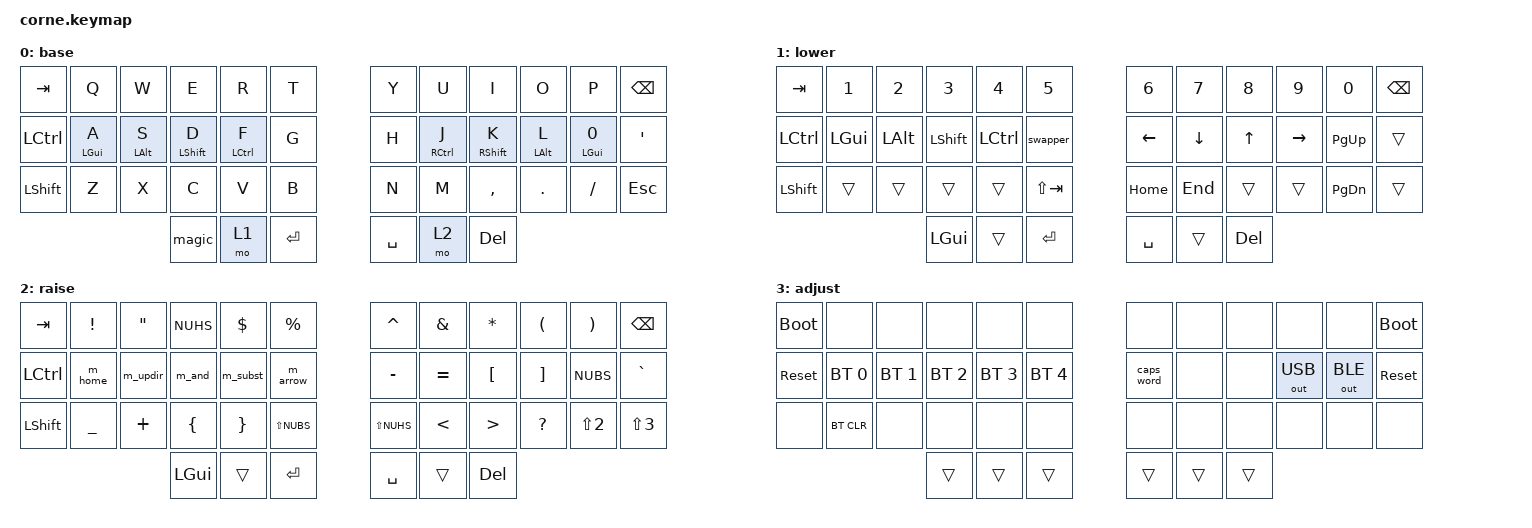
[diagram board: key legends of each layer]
/*
 * Corne UK ISO — keymap tuned for coding / Linux CLI
 * (symbols assume the OS keyboard layout is set to UK)
 * Layers: 0 Base, 1 Lower (numbers + nav), 2 Raise (symbols + shell macros), 3 Adjust (tri-layer)
 */

#include <behaviors.dtsi>
#include <behaviors/num_word.dtsi>   // from urob/zmk-auto-layer
#include <dt-bindings/zmk/keys.h>
#include <dt-bindings/zmk/bt.h>
#include <dt-bindings/zmk/outputs.h>
#include <dt-bindings/gpio/gpio.h>

#include "zmk-helpers/helper.h"
#include "zmk-helpers/key-labels/42.h"   // Corne 6-col key position labels

// ─── Position groups for HRMs (not provided by zmk-helpers v0.3) ─
#define KEYS_L LT0 LT1 LT2 LT3 LT4 LT5  LM0 LM1 LM2 LM3 LM4 LM5  LB0 LB1 LB2 LB3 LB4 LB5
#define KEYS_R RT0 RT1 RT2 RT3 RT4 RT5  RM0 RM1 RM2 RM3 RM4 RM5  RB0 RB1 RB2 RB3 RB4 RB5
#define THUMBS LH2 LH1 LH0 RH0 RH1 RH2

// ─── nice!view chip-select for Mechboards kits ───────────────────
// Mechboards Corne PCBs wire the display CS line to pro_micro pin 8
// (not the nice!view default). Without this the screens show random
// dots, garbage, or work intermittently.
// https://guides-mechboards.gitbook.io/guides/firmware/mip-nice-view-display-config
&nice_view_spi {
    cs-gpios = <&pro_micro 8 GPIO_ACTIVE_HIGH>;
};

// ─── Home row mods (GACS — Gui/Alt/Ctrl/Shift, index = Ctrl) ─────
ZMK_HOLD_TAP(hml,
    flavor = "balanced";
    tapping-term-ms = <280>;
    quick-tap-ms = <175>;
    require-prior-idle-ms = <150>;
    bindings = <&kp>, <&kp>;
    hold-trigger-key-positions = <KEYS_R THUMBS>;
    hold-trigger-on-release;
)

ZMK_HOLD_TAP(hmr,
    flavor = "balanced";
    tapping-term-ms = <280>;
    quick-tap-ms = <175>;
    require-prior-idle-ms = <150>;
    bindings = <&kp>, <&kp>;
    hold-trigger-key-positions = <KEYS_L THUMBS>;
    hold-trigger-on-release;
)

// ─── Colon first: tap = :  shift+tap = ; ──────────────────────────
ZMK_MOD_MORPH(colon_semi,
    bindings = <&kp COLON>, <&kp SEMI>;
    mods = <(MOD_LSFT|MOD_RSFT)>;
)

// Same as hmr, but the tap is the colon_semi mod-morph (use as &hmr_colon LGUI 0)
ZMK_HOLD_TAP(hmr_colon,
    flavor = "balanced";
    tapping-term-ms = <280>;
    quick-tap-ms = <175>;
    require-prior-idle-ms = <150>;
    bindings = <&kp>, <&colon_semi>;
    hold-trigger-key-positions = <KEYS_L THUMBS>;
    hold-trigger-on-release;
)

// ─── Tri-state: smart Alt-Tab ────────────────────────────────────
// Hold Lower, tap G → Alt+Tab with Alt held. Keep tapping G to step
// forward, B to step back. Let go of Lower (or press any other key)
// and Alt releases, landing on the selected window.
ZMK_TRI_STATE(swapper,
    bindings = <&kt LALT>, <&kp TAB>, <&kt LALT>;
    ignored-key-positions = <LB0>;   // LB0 (B on Lower) = &kp LS(TAB) for back-stepping
)

// ─── Magic shift (adaptive key, left outer thumb) ────────────────
// Tap right after a letter/number/symbol → repeat it (ll, ==, //, ..).
// Tap at the start of a word → one-shot Shift (capitalise next key).
ZMK_ADAPTIVE_KEY(magic,
    bindings = <&sk LSHFT>;
    repeat {
        trigger-keys = <A B C D E F G H I J K L M N O P Q R S T U V W X Y Z
                        N0 N1 N2 N3 N4 N5 N6 N7 N8 N9
                        DOT COMMA FSLH MINUS EQUAL>;
        bindings = <&key_repeat>;
        max-prior-idle-ms = <350>;
        strict-modifiers;
    };
)

// ─── Shell / coding macros (Raise layer, left home row) ──────────
ZMK_MACRO(m_home,  bindings = <&kp LS(NUHS) &kp FSLH>;)                     // ~/
ZMK_MACRO(m_updir, bindings = <&kp DOT &kp DOT &kp FSLH>;)                  // ../
ZMK_MACRO(m_and,   bindings = <&kp AMPS &kp AMPS>;)                         // &&
ZMK_MACRO(m_subst, bindings = <&kp DLLR &kp LPAR &kp RPAR &kp LEFT>;)       // $(|)
ZMK_MACRO(m_arrow, bindings = <&kp MINUS &kp GT>;)                          // ->

// ─── Leader macros (typed out by leader sequences below) ─────────
ZMK_MACRO(m_shebang, bindings = <&kp NUHS &kp EXCL &kp FSLH &kp U &kp S &kp R &kp FSLH
                                 &kp B &kp I &kp N &kp FSLH &kp E &kp N &kp V &kp SPACE
                                 &kp B &kp A &kp S &kp H>;)                 // #!/usr/bin/env bash
ZMK_MACRO(m_gst, bindings = <&kp G &kp I &kp T &kp SPACE
                             &kp S &kp T &kp A &kp T &kp U &kp S>;)         // git status
ZMK_MACRO(m_gcm, bindings = <&kp G &kp I &kp T &kp SPACE
                             &kp C &kp O &kp M &kp M &kp I &kp T &kp SPACE
                             &kp MINUS &kp M &kp SPACE
                             &kp LS(N2) &kp LS(N2) &kp LEFT>;)              // git commit -m "|"
ZMK_MACRO(m_gps, bindings = <&kp G &kp I &kp T &kp SPACE
                             &kp P &kp U &kp S &kp H>;)                     // git push
ZMK_MACRO(m_glg, bindings = <&kp G &kp I &kp T &kp SPACE
                             &kp L &kp O &kp G &kp SPACE
                             &kp MINUS &kp MINUS &kp O &kp N &kp E &kp L &kp I &kp N &kp E>;)  // git log --oneline

// ─── Leader key (combo B+N, then type a sequence) ────────────────
/ {
    behaviors {
        leader: leader {
            compatible = "zmk,behavior-leader-key";
            #binding-cells = <0>;
            // Typing helpers
            shebang { sequence = <S H>;         bindings = <&m_shebang>; };
            gst     { sequence = <G S>;         bindings = <&m_gst>; };
            gcm     { sequence = <G C>;         bindings = <&m_gcm>; };
            gps     { sequence = <G P>;         bindings = <&m_gps>; };
            glg     { sequence = <G L>;         bindings = <&m_glg>; };
            // System (acts on the left half — use Adjust for the right)
            usb     { sequence = <U S B>;       bindings = <&out OUT_USB>; };
            ble     { sequence = <B L E>;       bindings = <&out OUT_BLE>; };
            bt0     { sequence = <B N0>;        bindings = <&bt BT_SEL 0>; };
            bt1     { sequence = <B N1>;        bindings = <&bt BT_SEL 1>; };
            bt2     { sequence = <B N2>;        bindings = <&bt BT_SEL 2>; };
            bt3     { sequence = <B N3>;        bindings = <&bt BT_SEL 3>; };
            bt4     { sequence = <B N4>;        bindings = <&bt BT_SEL 4>; };
            btclr   { sequence = <C L E A R>;   bindings = <&bt BT_CLR>; };
            boot    { sequence = <B O O T>;     bindings = <&bootloader>; };
            reset   { sequence = <R E S E T>;   bindings = <&sys_reset>; };
        };
    };
};

// ─── Tri-layer: Lower + Raise → Adjust ───────────────────────────
ZMK_CONDITIONAL_LAYER(adjust, 1 2, 3)

// ─── Combos (base layer) ─────────────────────────────────────────
// Args: name, binding, positions, layers, timeout-ms, require-prior-idle-ms.
// The 150 ms idle on the bracket combos stops them firing mid-word
// on common rolls like "er", "we", "io".
ZMK_COMBO(esc,      &kp ESC,      RM1 RM2, 0, 40)        // J + K
ZMK_COMBO(lpar,     &kp LPAR,     LT2 LT1, 0, 30, 150)   // E + R → (
ZMK_COMBO(rpar,     &kp RPAR,     RT1 RT2, 0, 30, 150)   // U + I → )
ZMK_COMBO(lbkt,     &kp LBKT,     LT3 LT2, 0, 30, 150)   // W + E → [
ZMK_COMBO(rbkt,     &kp RBKT,     RT2 RT3, 0, 30, 150)   // I + O → ]
ZMK_COMBO(lbrc,     &kp LBRC,     LB3 LB2, 0, 30, 150)   // X + C → {
ZMK_COMBO(rbrc,     &kp RBRC,     RB2 RB3, 0, 30, 150)   // , + . → }
ZMK_COMBO(capsword, &caps_word,   LB1 RB1, 0, 30)        // V + M → CAPS_WORD
ZMK_COMBO(numword,  &num_word 1,  LB2 RB2, 0, 30)        // C + , → NUM_WORD (Lower until a non-number)
ZMK_COMBO(lead,     &leader,      LB0 RB0, 0, 30)        // B + N → LEADER

// ─── Layers ──────────────────────────────────────────────────────

ZMK_LAYER(base,
//╭───────────┬─────────────┬─────────────┬──────────────┬──────────────┬───────────╮ ╭───────────┬──────────────┬──────────────┬─────────────┬─────────────────┬──────────╮
//│   TAB     │      Q      │      W      │      E       │      R       │     T     │ │     Y     │      U       │      I       │      O      │       P         │   BSPC   │
//│  LCTRL    │   A / GUI   │   S / ALT   │   D / SHFT   │   F / CTRL   │     G     │ │     H     │   J / CTRL   │   K / SHFT   │   L / ALT   │  : (⇧;) / GUI   │    '     │
//│  LSHFT    │      Z      │      X      │      C       │      V       │     B     │ │     N     │      M       │      ,       │      .      │       /         │   ESC    │
//╰───────────┴─────────────┴─────────────┼──────────────┼──────────────┼───────────┤ ├───────────┼──────────────┼──────────────┼─────────────┴─────────────────┴──────────╯
//                                        │    MAGIC     │   LWR (mo1)  │    ENT    │ │    SPC    │  RSE (mo2)   │     DEL      │
   &kp TAB    &kp Q         &kp W         &kp E          &kp R          &kp T         &kp Y       &kp U          &kp I          &kp O         &kp P             &kp BSPC
   &kp LCTRL  &hml LGUI A   &hml LALT S   &hml LSHFT D   &hml LCTRL F   &kp G         &kp H       &hmr RCTRL J   &hmr RSHFT K   &hmr LALT L   &hmr_colon LGUI 0 &kp SQT
   &kp LSHFT  &kp Z         &kp X         &kp C          &kp V          &kp B         &kp N       &kp M          &kp COMMA      &kp DOT       &kp FSLH          &kp ESC
                                          &magic         &mo 1          &kp RET       &kp SPACE   &mo 2          &kp DEL
)

ZMK_LAYER(lower,
//╭───────────┬─────────────┬─────────────┬──────────────┬──────────────┬─────────────╮ ╭───────────┬──────────────┬──────────────┬─────────────┬───────────┬──────────╮
//│   TAB     │      1      │      2      │      3       │      4       │      5      │ │     6     │      7       │      8       │      9      │     0     │   BSPC   │
//│  LCTRL    │     GUI     │     ALT     │    SHIFT     │     CTRL     │   SWAPPER   │ │     ←     │      ↓       │      ↑       │      →      │   PG UP   │          │
//│  LSHFT    │             │             │              │              │    ⇧TAB     │ │   HOME    │     END      │              │             │   PG DN   │          │
//╰───────────┴─────────────┴─────────────┼──────────────┼──────────────┼─────────────┤ ├───────────┼──────────────┼──────────────┼─────────────┴───────────┴──────────╯
//                                        │     LGUI     │              │     ENT     │ │    SPC    │              │     DEL      │
   &kp TAB    &kp N1        &kp N2        &kp N3         &kp N4         &kp N5          &kp N6      &kp N7         &kp N8         &kp N9        &kp N0      &kp BSPC
   &kp LCTRL  &kp LGUI      &kp LALT      &kp LSHFT      &kp LCTRL      &swapper        &kp LEFT    &kp DOWN       &kp UP         &kp RIGHT     &kp PG_UP   &trans
   &kp LSHFT  &trans        &trans        &trans         &trans         &kp LS(TAB)     &kp HOME    &kp END        &trans         &trans        &kp PG_DN   &trans
                                          &kp LGUI       &trans         &kp RET         &kp SPACE   &trans         &kp DEL
)

ZMK_LAYER(raise,
//╭───────────┬─────────────┬─────────────┬──────────────┬──────────────┬─────────────╮ ╭───────────┬──────────────┬──────────────┬─────────────┬───────────┬──────────╮
//│   TAB     │      !      │      @      │      #       │      $       │      %      │ │     ^     │      &       │      *       │      (      │     )     │   BSPC   │
//│  LCTRL    │     ~/      │     ../     │      &&      │     $()      │     ->      │ │     -     │      =       │      [       │      ]      │     \     │     `    │
//│  LSHFT    │      _      │      +      │      {       │      }       │      |      │ │     ~     │      <       │      >       │      ?      │     "     │     £    │
//╰───────────┴─────────────┴─────────────┼──────────────┼──────────────┼─────────────┤ ├───────────┼──────────────┼──────────────┼─────────────┴───────────┴──────────╯
//                                        │     LGUI     │              │     ENT     │ │    SPC    │              │     DEL      │
   &kp TAB    &kp EXCL      &kp DQT       &kp NUHS       &kp DLLR       &kp PRCNT       &kp CARET   &kp AMPS       &kp ASTRK      &kp LPAR      &kp RPAR    &kp BSPC
   &kp LCTRL  &m_home       &m_updir      &m_and         &m_subst       &m_arrow        &kp MINUS   &kp EQUAL      &kp LBKT       &kp RBKT      &kp NUBS    &kp GRAVE
   &kp LSHFT  &kp UNDER     &kp PLUS      &kp LBRC       &kp RBRC       &kp LS(NUBS)    &kp LS(NUHS) &kp LT        &kp GT         &kp QMARK     &kp LS(N2)  &kp LS(N3)
                                          &kp LGUI       &trans         &kp RET         &kp SPACE   &trans         &kp DEL
)

ZMK_LAYER(adjust,
//╭───────────┬─────────────┬─────────────┬──────────────┬──────────────┬─────────────╮ ╭───────────┬──────────────┬──────────────┬─────────────┬───────────┬──────────╮
//│  BOOT     │             │             │              │              │             │ │           │              │              │             │           │   BOOT   │
//│  RESET    │     BT0     │     BT1     │     BT2      │     BT3      │     BT4     │ │ CAPS_WORD │              │              │   USB OUT   │  BLE OUT  │   RESET  │
//│           │   BT_CLR    │             │              │              │             │ │           │              │              │             │           │          │
//╰───────────┴─────────────┴─────────────┼──────────────┼──────────────┼─────────────┤ ├───────────┼──────────────┼──────────────┼─────────────┴───────────┴──────────╯
//                                        │              │              │             │ │           │              │              │
   &bootloader &none        &none         &none          &none          &none           &none       &none          &none          &none         &none       &bootloader
   &sys_reset  &bt BT_SEL 0 &bt BT_SEL 1  &bt BT_SEL 2   &bt BT_SEL 3   &bt BT_SEL 4    &caps_word  &none          &none          &out OUT_USB  &out OUT_BLE &sys_reset
   &none       &bt BT_CLR   &none         &none          &none          &none           &none       &none          &none          &none         &none       &none
                                          &trans         &trans         &trans          &trans      &trans         &trans
)
